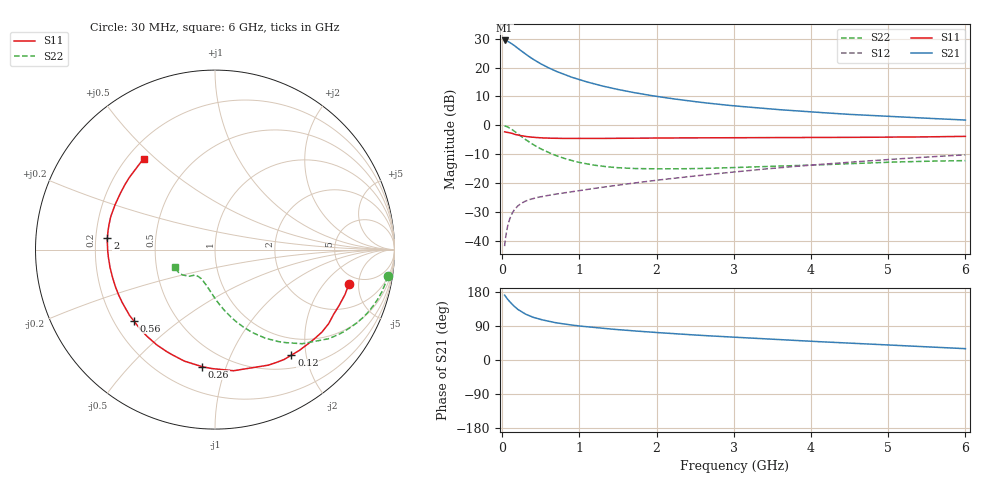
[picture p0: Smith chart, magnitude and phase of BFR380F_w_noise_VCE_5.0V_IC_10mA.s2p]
! Infineon Technologies  Discrete & RF Semiconductors
! BFR380F
! VCE =  5.0 V,  IC =  10 mA
! Common Emitter S-Parameters:  Nov 2015
# GHz  S  MA  R  50
!  f  S11  S21  S12  S22
! GHz  MAG  ANG  MAG  ANG  MAG  ANG  MAG  ANG
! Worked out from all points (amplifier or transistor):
!   206 points, 30 MHz to 6 GHz, reference 50 ohm
!   highest |S21| = 29.4 dB at 30 MHz (marker M1)
!   |S21| within 3 dB of that: start of sweep to 216 MHz
!   unconditionally stable (mu >= 1): 1.795 GHz to 5.055 GHz
!   at 200 MHz: K = 0.22, MSG = 27.3 dB, |S12| = -27.9 dB
!   at 1.56 GHz: K = 0.96, MSG = 16.3 dB, |S12| = -20.5 dB
!   at 6 GHz: K = 0.97, MSG = 6.0 dB, |S12| = -10.2 dB
!   lowest NFmin = 0.86 dB at 900 MHz
!   S11 on the Smith chart (normalised r, x): 30 MHz: 4.02, -3.80; 120 MHz: 0.70, -1.74; 260 MHz: 0.36, -0.83; 560 MHz: 0.28, -0.35; 2 GHz: 0.25, +0.05; 6 GHz: 0.27, +0.46
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0.03  0.7709 -14.4  29.38 171.2  0.0081 83.2  0.9744 -8.7
0.05  0.7584 -24.2  29.1 165.2  0.0132 79.1  0.9588 -14.3
0.07  0.7558 -33.1  28.34 160.1  0.0181 74.4  0.9343 -19.8
0.1  0.7367 -46.2  26.94 153.1  0.0248 69.1  0.889 -27.4
0.12  0.7256 -54.1  25.88 148.6  0.0285 65.7  0.8551 -32.0
0.15  0.7091 -65.2  24.3 142.5  0.0336 61.4  0.8023 -38.3
0.2  0.6827 -81.3  21.6 133.7  0.0401 55.5  0.7147 -47.2
0.26  0.6561 -96.3  18.78 125.9  0.0457 50.7  0.6228 -55.4
0.3  0.6444 -105.3  17.14 121.2  0.0487 48.4  0.5688 -60.3
0.4  0.6219 -121.6  13.89 112.7  0.0541 45.1  0.4647 -69.4
0.5  0.6079 -133.5  11.57 106.6  0.058 43.9  0.3903 -76.3
0.56  0.6019 -138.9  10.54 104.0  0.06 43.8  0.358 -79.4
0.68  0.5963 -147.9  8.835 98.9  0.064 44.3  0.3053 -85.5
0.8  0.5934 -154.9  7.584 94.9  0.0678 45.3  0.2678 -90.6
1.04  0.5915 -164.8  5.929 88.9  0.0758 48.1  0.2222 -98.9
1.4  0.595 -174.9  4.448 81.8  0.0884 52.0  0.1892 -109.3
2  0.6031 174.0  3.162 72.5  0.112 56.7  0.1765 -120.4
2.02  0.6032 173.7  3.135 72.3  0.1128 56.8  0.1765 -120.7
3.1  0.6088 160.4  2.116 59.2  0.1605 60.4  0.1874 -130.0
4.1  0.6137 149.2  1.67 48.4  0.2096 60.1  0.2068 -134.4
5.1  0.6248 138.8  1.406 38.7  0.2609 58.1  0.2317 -143.5
6  0.6435 128.2  1.233 29.9  0.3082 54.4  0.2452 -156.1
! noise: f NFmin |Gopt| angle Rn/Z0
0.45  0.87  0.09  98  0.09
0.9  0.86  0.18  132  0.08
1.8  1.14  0.33  166  0.08
1.9  1.23  0.34  167  0.07
2.4  1.37  0.37  -178  0.08
3.5  2  0.48  -160  0.11
